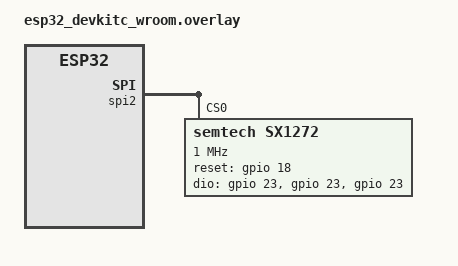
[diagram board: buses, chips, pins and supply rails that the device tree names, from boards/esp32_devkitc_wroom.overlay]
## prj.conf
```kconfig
CONFIG_LOG=y
CONFIG_SPI=y
CONFIG_GPIO=y
CONFIG_LORA=y
CONFIG_PRINTK=y
CONFIG_LORA_LOG_LEVEL_DBG=y
#CONFIG_LORA_SX12XX=y
#CONFIG_LORAWAN=y
#CONFIG_LORAWAN_LOG_LEVEL_DBG=y
# Define the Lorawan region to be used:
#CONFIG_LORAMAC_REGION_EU868=y
#CONFIG_LORAWAN_SYSTEM_MAX_RX_ERROR=90
CONFIG_HEAP_MEM_POOL_SIZE=2048
CONFIG_MAIN_STACK_SIZE=8182
#CONFIG_SYSTEM_WORKQUEUE_STACK_SIZE >= 2048 =y
#CONFIG_HAS_SEMTECH_LORAMAC=y
```

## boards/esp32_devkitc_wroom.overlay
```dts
    &spi2 {
       status = "okay";
       


       lora: sx1272@0 {
           compatible = "semtech,sx1272";
           reg = <0>;
           label = "sx1272";
           reset-gpios = <&gpio 18 GPIO_ACTIVE_HIGH>;
	   dio-gpios = <&gpio 23 (GPIO_PULL_DOWN | GPIO_ACTIVE_HIGH)>,<&gpio 23 (GPIO_PULL_DOWN | GPIO_ACTIVE_HIGH)>,<&gpio 23 (GPIO_PULL_DOWN | GPIO_ACTIVE_HIGH)>;
           
           spi-max-frequency = <1000000>;
           power-amplifier-output = "pa-boost";
       };
    };

    / {
       aliases {
          lora0 = &lora;
     };
    };
```

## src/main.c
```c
/*
 * Copyright (c) 2019 Manivannan Sadhasivam
 *
 * SPDX-License-Identifier: Apache-2.0
 */

#include <zephyr/device.h>
#include <zephyr/drivers/lora.h>
#include <errno.h>
#include <zephyr/sys/util.h>
#include <zephyr/kernel.h>

//#define DEFAULT_RADIO_NODE DT_ALIAS(lora0)
//BUILD_ASSERT(DT_NODE_HAS_STATUS(DEFAULT_RADIO_NODE, okay),
//	     "No default LoRa radio specified in DT");

#define DEFAULT_RADIO_NODE DT_ALIAS(lora0)
BUILD_ASSERT(DT_NODE_HAS_STATUS(DEFAULT_RADIO_NODE, okay), "No default LoRa radio specified in DT");
#define DEFAULT_RADIO DT_LABEL(DEFAULT_RADIO_NODE)


#define MAX_DATA_LEN 10

#define LOG_LEVEL CONFIG_LOG_DEFAULT_LEVEL
#include <zephyr/logging/log.h>
LOG_MODULE_REGISTER(lora_send);

char data[MAX_DATA_LEN] = {'h', 'e', 'l', 'l', 'o', 'w', 'o', 'r', 'l', 'd'};

int main(void)
{
	const struct device *const lora_dev = DEVICE_DT_GET(DEFAULT_RADIO_NODE);
	struct lora_modem_config config;
	int ret;

	if (!device_is_ready(lora_dev)) {
		LOG_ERR("%s Device not ready", lora_dev->name);
		return 0;
	}

	config.frequency = 865100000;
	config.bandwidth = BW_125_KHZ;
	config.datarate = SF_10;
	config.preamble_len = 8;
	config.coding_rate = CR_4_5;
	config.iq_inverted = false;
	config.public_network = false;
	config.tx_power = 4;
	config.tx = true;

	ret = lora_config(lora_dev, &config);
	if (ret < 0) {
		LOG_ERR("LoRa config failed");
		return 0;
	}

	while (1) {
		ret = lora_send(lora_dev, data, MAX_DATA_LEN);
		if (ret < 0) {
			LOG_ERR("LoRa send failed");
			return 0;
		}

		LOG_INF("Data sent!");

		/* Send data at 1s interval */
		k_sleep(K_MSEC(1000));
	}
	return 0;
}
```
